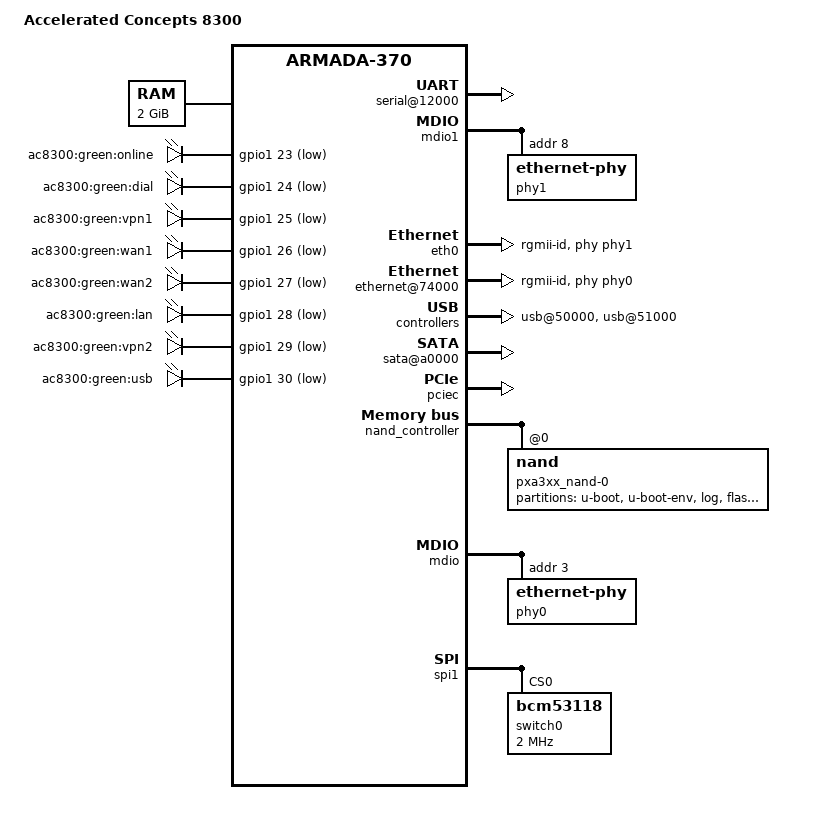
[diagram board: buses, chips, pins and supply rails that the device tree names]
/*
 * Device Tree file for AcceleratedConcepts 8300
 *
 * Greg Ungerer <greg.ungerer@accelerated.com>
 *
 * This file is licensed under the terms of the GNU General Public
 * License version 2.  This program is licensed "as is" without any
 * warranty of any kind, whether express or implied.
 */

/dts-v1/;
#include "armada-370.dtsi"

/ {
	model = "Accelerated Concepts 8300";
	compatible = "accelerated,8300", "marvell,armada370", "marvell,armada-370-xp";

	chosen {
		bootargs = "console=ttyS0,115200";
	};

	memory@0 {
		device_type = "memory";
		reg = <0x00000000 0x80000000>; /* 2 GB */
	};

	soc {
		ranges = <MBUS_ID(0xf0, 0x01) 0 0xd0000000 0x100000
			  MBUS_ID(0x01, 0xe0) 0 0xfff00000 0x100000
			  MBUS_ID(0x09, 0x01) 0 0xf1100000 0x10000>;

		internal-regs {
			serial@12000 {
				clock-frequency = <200000000>;
				status = "okay";
			};
			timer@20300 {
				clock-frequency = <600000000>;
				status = "okay";
			};

			gpio_leds {
				compatible = "gpio-leds";
				pinctrl-names = "default";
				pinctrl-0 = <&online_led_pin &dial_led_pin &vpn1_led_pin &wan1_led_pin &wan2_led_pin &lan_led_pin &vpn2_led_pin &usb_led_pin>;

				green_pwr_led {
					label = "ac8300:green:online";
					gpios = <&gpio1 23 1>;
					linux,default-trigger = "online";
				};

				green_dial_led {
					label = "ac8300:green:dial";
					gpios = <&gpio1 24 1>;
					linux,default-trigger = "dial";
				};

				green_vpn1_led {
					label = "ac8300:green:vpn1";
					gpios = <&gpio1 25 1>;
					linux,default-trigger = "vpn1";
				};

				green_wan1_led {
					label = "ac8300:green:wan1";
					gpios = <&gpio1 26 1>;
					linux,default-trigger = "wan1";
				};

				green_wan2_led {
					label = "ac8300:green:wan2";
					gpios = <&gpio1 27 1>;
					linux,default-trigger = "wan2";
				};

				green_lan_led {
					label = "ac8300:green:lan";
					gpios = <&gpio1 28 1>;
					linux,default-trigger = "lan";
				};

				green_vpn2_led {
					label = "ac8300:green:vpn2";
					gpios = <&gpio1 29 1>;
					linux,default-trigger = "vpn2";
				};

				green_usb_led {
					label = "ac8300:green:usb";
					gpios = <&gpio1 30 1>;
					linux,default-trigger = "usb";
				};
			};

			gpio_usb_enables {
				pinctrl-names = "default";
				pinctrl-0 = <&wdisable0_pin &wdisable1_pin &pcie_reset_pin &usb_enable_pin1 &usb_enable_pin2 &usb_enable_pin3>;
			};

			mdio1 {
				#address-cells = <1>;
				#size-cells = <0>;
				compatible = "virtual,mdio-bcm53118";
				bcm53118,spi = <&switch0>;

				phy1: ethernet-phy@8 {
					reg = <8>;
				};
			};

			eth0: ethernet@70000 {
				status = "okay";
				phy = <&phy1>;
				phy-mode = "rgmii-id";
			};
			ethernet@74000 {
				status = "okay";
				phy = <&phy0>;
				phy-mode = "rgmii-id";
			};

			crypto@90000 {
				status = "okay";
			};

			usb@50000 {
				status = "okay";
			};

			usb@51000 {
				status = "okay";
			};

			sata@a0000 {
				nr-ports = <2>;
				status = "okay";
			};
		};
	};
};

&pinctrl {
	online_led_pin: online-led-pin {
		marvell,pins = "mpp55";
		marvell,function = "gpio";
	};

	dial_led_pin: dial-led-pin {
		marvell,pins = "mpp56";
		marvell,function = "gpio";
	};

	vpn1_led_pin: vpn1-led-pin {
		marvell,pins = "mpp57";
		marvell,function = "gpio";
	};

	wan1_led_pin: wan1-led-pin {
		marvell,pins = "mpp58";
		marvell,function = "gpio";
	};

	wan2_led_pin: wan2-led-pin {
		marvell,pins = "mpp59";
		marvell,function = "gpo";
	};

	lan_led_pin: lan-led-pin {
		marvell,pins = "mpp60";
		marvell,function = "gpio";
	};

	vpn2_led_pin: vpn2-led-pin {
		marvell,pins = "mpp61";
		marvell,function = "gpo";
	};

	usb_led_pin: usb-led-pin {
		marvell,pins = "mpp62";
		marvell,function = "gpio";
	};

	wdisable0_pin: wdisable0-pin {
		marvell,pins = "mpp2";
		marvell,function = "gpio";
	};

	wdisable1_pin: wdisable1-pin {
		marvell,pins = "mpp3";
		marvell,function = "gpio";
	};

	pcie_reset_pin: pcie_reset-pin {
		marvell,pins = "mpp48";
		marvell,function = "gpio";
	};

	usb_enable_pin1: usb-enable-pin1 {
		marvell,pins = "mpp4";
		marvell,function = "gpio";
	};

	usb_enable_pin2: usb-enable-pin2 {
		marvell,pins = "mpp31";
		marvell,function = "gpio";
	};

	usb_enable_pin3: usb-enable-pin3 {
		marvell,pins = "mpp47";
		marvell,function = "gpio";
	};
};

&pciec {
	status = "okay";
 
	/* Internal mini-PCIe connector */
	pcie@1,0 {
		/* Port 0, Lane 0 */
		status = "okay";
	};
 
	/* Connected on the PCB to a USB 3.0 XHCI controller */
	pcie@2,0 {
		/* Port 1, Lane 0 */
		status = "okay";
	};
};

&nand_controller {
	status = "okay";

	nand@0 {
		reg = <0>;
		label = "pxa3xx_nand-0";
		nand-rb = <0>;
		marvell,nand-keep-config;
		nand-on-flash-bbt;
		nand-ecc-strength = <4>;
		nand-ecc-step-size = <512>;

		partitions {
			compatible = "fixed-partitions";
			#address-cells = <1>;
			#size-cells = <1>;

			partition@0 {
				label = "u-boot";
				reg = <0x00000000 0x00200000>;
			};
			partition@1 {
				label = "u-boot-env";
				reg = <0x00200000 0x00100000>;
			};
			partition@2 {
				label = "log";
				reg = <0x00300000 0x00200000>;
			};
			partition@3 {
				label = "flash";
				reg = <0x00500000 0x07b00000>;
			};
			partition@4 {
				label = "all";
				reg = <0x00000000 0x08000000>;
			};
		};
	};
};

&mdio {
	pinctrl-0 = <&mdio_pins>;
	pinctrl-names = "default";
	phy0: ethernet-phy@0 {
		reg = <3>;
	};
};

&spi0 {
	status = "disable";

	spi-flash@0 {
		#address-cells = <1>;
		#size-cells = <1>;
		compatible = "mx25l25635e";
		reg = <0>; /* Chip select 0 */
		spi-max-frequency = <50000000>;
	};
};

&spi1 {
	pinctrl-0 = <&spi1_pins>;
	pinctrl-names = "default";
	status = "okay";

	switch0: ethernet-switch@0 {
		compatible = "bcm53118";
		reg = <0>; /* Chip select 0 */
		spi-max-frequency = <2000000>;
		spi-cpol;
		spi-cpha;
		bcm53118,ethernet = <&eth0>;
	};
};

